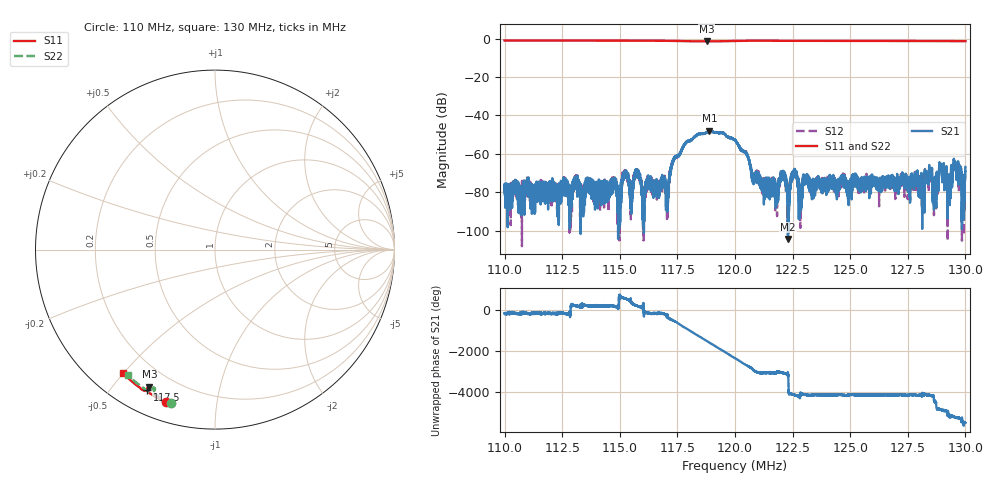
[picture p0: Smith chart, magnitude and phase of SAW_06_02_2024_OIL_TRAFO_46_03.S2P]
!Agilent Technologies,E5071C,MY46520923,B.12.03
!Date: Tue Feb 06 09:21:04 2024
!Data & Calibration Information:
!Freq	S11:SOLT2(ON)	S21:SOLT2(ON)	S12:SOLT2(ON)	S22:SOLT2(ON)
!PortZ  Port1:50+j0  Port2:50+j0
!Above PortZ is port z conversion or system Z0 setting when saving the data.
!When reading, reference impedance value at option line is always used.
# Hz S dB R 50
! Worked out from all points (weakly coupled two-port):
!   10000 points, 110 MHz to 130 MHz, reference 50 ohm
!   highest |S21| = -47.97 dB at 118.9 MHz (marker M1); lowest = -104.3 dB at 122.3 MHz (marker M2)
!   lowest |S11| = -1.5 dB at 118.8 MHz (marker M3), VSWR 11.98, Z = 5.81 - j31.2 ohm
!   |S11| at or under -10 dB: nowhere
!   |S22| runs from -1.5 to -1.0 dB; largest |S21 - S12| = 0.00022
!   S11 on the Smith chart (normalised r, x): 110 MHz: 0.09, -0.73; 117.5 MHz: 0.10, -0.62; 130 MHz: 0.10, -0.50
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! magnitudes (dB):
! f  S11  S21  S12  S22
! 110 MHz  -1.0  -77.7  -77.3  -1.0
! 113.3 MHz  -1.0  -81.6  -83.3  -1.1
! 115 MHz  -1.1  -92.1  -97.0  -1.1
! 115.2 MHz  -1.1  -70.5  -70.2  -1.2
! 115.5 MHz  -1.1  -88.3  -80.1  -1.2
! 115.7 MHz  -1.1  -69.7  -68.8  -1.2
! 116 MHz  -1.1  -86.2  -85.0  -1.2
! 116.7 MHz  -1.1  -77.0  -74.6  -1.2
! 117.1 MHz  -1.2  -78.8  -83.3  -1.2
! 117.5 MHz  -1.2  -60.9  -61.0  -1.3
! 118.8 MHz  -1.5  -49.0  -49.0  -1.5
! 118.9 MHz  -1.4  -48.0  -48.1  -1.5
! 120 MHz  -1.2  -52.9  -52.8  -1.3
! 120.8 MHz  -1.1  -71.5  -73.9  -1.2
! 121.8 MHz  -1.1  -83.9  -88.8  -1.2
! 122.1 MHz  -1.2  -69.8  -69.7  -1.2
! 122.3 MHz  -1.2  -104.3  -99.0  -1.2
! 122.6 MHz  -1.2  -71.0  -69.9  -1.2
! 122.8 MHz  -1.2  -80.9  -93.5  -1.2
! 123.3 MHz  -1.2  -80.2  -78.2  -1.2
! 126.7 MHz  -1.3  -71.5  -74.4  -1.3
! 130 MHz  -1.3  -66.8  -66.7  -1.4
